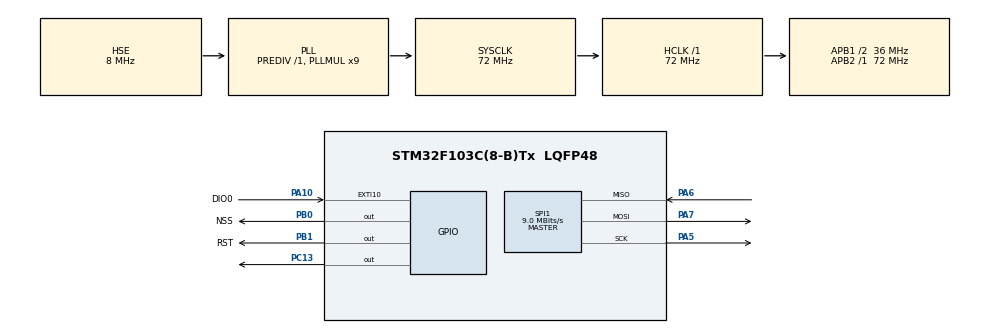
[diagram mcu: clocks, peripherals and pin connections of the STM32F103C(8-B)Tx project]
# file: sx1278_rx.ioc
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Mcu.Family=STM32F1
Mcu.Name=STM32F103C(8-B)Tx
Mcu.Package=LQFP48
NVIC.PriorityGroup=NVIC_PRIORITYGROUP_4
PA10.GPIO_Label=DIO0
PA10.Signal=GPXTI10
PA13.Mode=Serial_Wire
PA13.Signal=SYS_JTMS-SWDIO
PA14.Mode=Serial_Wire
PA14.Signal=SYS_JTCK-SWCLK
PA5.Mode=Full_Duplex_Master
PA5.Signal=SPI1_SCK
PA6.Mode=Full_Duplex_Master
PA6.Signal=SPI1_MISO
PA7.Mode=Full_Duplex_Master
PA7.Signal=SPI1_MOSI
PB0.GPIO_Label=NSS
PB0.GPIO_PuPd=GPIO_PULLUP
PB0.PinState=GPIO_PIN_SET
PB0.Signal=GPIO_Output
PB1.GPIO_Label=RST
PB1.GPIO_PuPd=GPIO_PULLUP
PB1.PinState=GPIO_PIN_SET
PB1.Signal=GPIO_Output
PC13-TAMPER-RTC.Signal=GPIO_Output
PD0-OSC_IN.Mode=HSE-External-Oscillator
PD0-OSC_IN.Signal=RCC_OSC_IN
PD1-OSC_OUT.Mode=HSE-External-Oscillator
PD1-OSC_OUT.Signal=RCC_OSC_OUT
ProjectManager.HeapSize=0x200
ProjectManager.StackSize=0x400
ProjectManager.TargetToolchain=MDK-ARM V5.32
RCC.AHBFreq_Value=72000000
RCC.APB1CLKDivider=RCC_HCLK_DIV2
RCC.APB1Freq_Value=36000000
RCC.APB1TimFreq_Value=72000000
RCC.APB2Freq_Value=72000000
RCC.APB2TimFreq_Value=72000000
RCC.HCLKFreq_Value=72000000
RCC.PLLMUL=RCC_PLL_MUL9
RCC.PLLSourceVirtual=RCC_PLLSOURCE_HSE
RCC.SYSCLKFreq_VALUE=72000000
RCC.SYSCLKSource=RCC_SYSCLKSOURCE_PLLCLK
RCC.USBFreq_Value=72000000
SPI1.BaudRatePrescaler=SPI_BAUDRATEPRESCALER_8
SPI1.CalculateBaudRate=9.0 MBits/s
SPI1.Direction=SPI_DIRECTION_2LINES
SPI1.Mode=SPI_MODE_MASTER
SPI1.VirtualType=VM_MASTER
board=custom

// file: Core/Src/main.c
/* USER CODE BEGIN Header */
/**
  ******************************************************************************
  * @file           : main.c
  * @brief          : Main program body
  ******************************************************************************
  * @attention
  *
  * Copyright (c) 2024 STMicroelectronics.
  * All rights reserved.
  *
  * This software is licensed under terms that can be found in the LICENSE file
  * in the root directory of this software component.
  * If no LICENSE file comes with this software, it is provided AS-IS.
  *
  ******************************************************************************
  */
/* USER CODE END Header */
#include "main.h"
#include "spi.h"
#include "gpio.h"

/* USER CODE BEGIN Includes */
#include "sx1278_selfmade.h"

/* USER CODE END Includes */

/* USER CODE BEGIN PV */
LoRa mylora;
uint8_t received_data[128];
uint8_t lora_stat;
/* USER CODE END PV */

void SystemClock_Config(void);

int main(void)
{

  /* MCU Configuration--------------------------------------------------------*/

  /* Reset of all peripherals, Initializes the Flash interface and the Systick. */
  HAL_Init();

  /* Configure the system clock */
  SystemClock_Config();

  /* Initialize all configured peripherals */
  MX_GPIO_Init();
  MX_SPI1_Init();
  /* USER CODE BEGIN 2 */
	mylora = default_lora();

	mylora.CS_port 				= NSS_GPIO_Port;
	mylora.CS_pin					= NSS_Pin;
	mylora.RS_port				= RST_GPIO_Port;
	mylora.RS_pin					= RST_Pin;
	mylora.DIO0_port			= DIO0_GPIO_Port;
	mylora.DIO0_pin				= DIO0_Pin;
	mylora.hSPIx					= &hspi1;

	mylora.frequency              = 440;
	mylora.spredingFactor         = SF_9;
	mylora.bandWidth						  = BW_31_25KHz;
	mylora.crcRate								= CR_4_5;
	mylora.power									= POWER_20db;
	mylora.overCurrentProtection	= 130;
	mylora.preamble								= 9;

	LoRa_reset1(&mylora);

	lora_stat = lora_init(&mylora);

	if(lora_stat == LORA_OK)
	{
		HAL_GPIO_WritePin(GPIOC, GPIO_PIN_13, GPIO_PIN_SET);
		HAL_Delay(100);
	} else HAL_GPIO_WritePin(GPIOC, GPIO_PIN_13, GPIO_PIN_RESET);

	lora_starReceive(&mylora);

	volatile uint8_t packet_sz = 0;
	lora_receive(&mylora, received_data, 3);
  /* USER CODE END 2 */

  /* Infinite loop */
  while (1)
  {
		packet_sz = lora_receive(&mylora, received_data, 3);
		if(packet_sz != 0)
		{
		//HAL_GPIO_WritePin(GPIOC, GPIO_PIN_13, GPIO_PIN_RESET);
		HAL_GPIO_TogglePin(GPIOC, GPIO_PIN_13);
		}
		//HAL_Delay(500);
  }
}

void SystemClock_Config(void)
{
  RCC_OscInitTypeDef RCC_OscInitStruct = {0};
  RCC_ClkInitTypeDef RCC_ClkInitStruct = {0};

  /** Initializes the RCC Oscillators according to the specified parameters
  * in the RCC_OscInitTypeDef structure.
  */
  RCC_OscInitStruct.OscillatorType = RCC_OSCILLATORTYPE_HSE;
  RCC_OscInitStruct.HSEState = RCC_HSE_ON;
  RCC_OscInitStruct.HSEPredivValue = RCC_HSE_PREDIV_DIV1;
  RCC_OscInitStruct.HSIState = RCC_HSI_ON;
  RCC_OscInitStruct.PLL.PLLState = RCC_PLL_ON;
  RCC_OscInitStruct.PLL.PLLSource = RCC_PLLSOURCE_HSE;
  RCC_OscInitStruct.PLL.PLLMUL = RCC_PLL_MUL9;
  if (HAL_RCC_OscConfig(&RCC_OscInitStruct) != HAL_OK)
  {
    Error_Handler();
  }

  /** Initializes the CPU, AHB and APB buses clocks
  */
  RCC_ClkInitStruct.ClockType = RCC_CLOCKTYPE_HCLK|RCC_CLOCKTYPE_SYSCLK
                              |RCC_CLOCKTYPE_PCLK1|RCC_CLOCKTYPE_PCLK2;
  RCC_ClkInitStruct.SYSCLKSource = RCC_SYSCLKSOURCE_PLLCLK;
  RCC_ClkInitStruct.AHBCLKDivider = RCC_SYSCLK_DIV1;
  RCC_ClkInitStruct.APB1CLKDivider = RCC_HCLK_DIV2;
  RCC_ClkInitStruct.APB2CLKDivider = RCC_HCLK_DIV1;

  if (HAL_RCC_ClockConfig(&RCC_ClkInitStruct, FLASH_LATENCY_2) != HAL_OK)
  {
    Error_Handler();
  }
}

/* USER CODE BEGIN 4 */
void HAL_GPIO_EXTI_Callback(uint16_t GPIO_Pin)
{

	//HAL_GPIO_TogglePin(GPIOC, GPIO_PIN_13);
	//HAL_Delay(100);
}
/* USER CODE END 4 */

void Error_Handler(void)
{
  __disable_irq();
  while (1)
  {
  }
}
